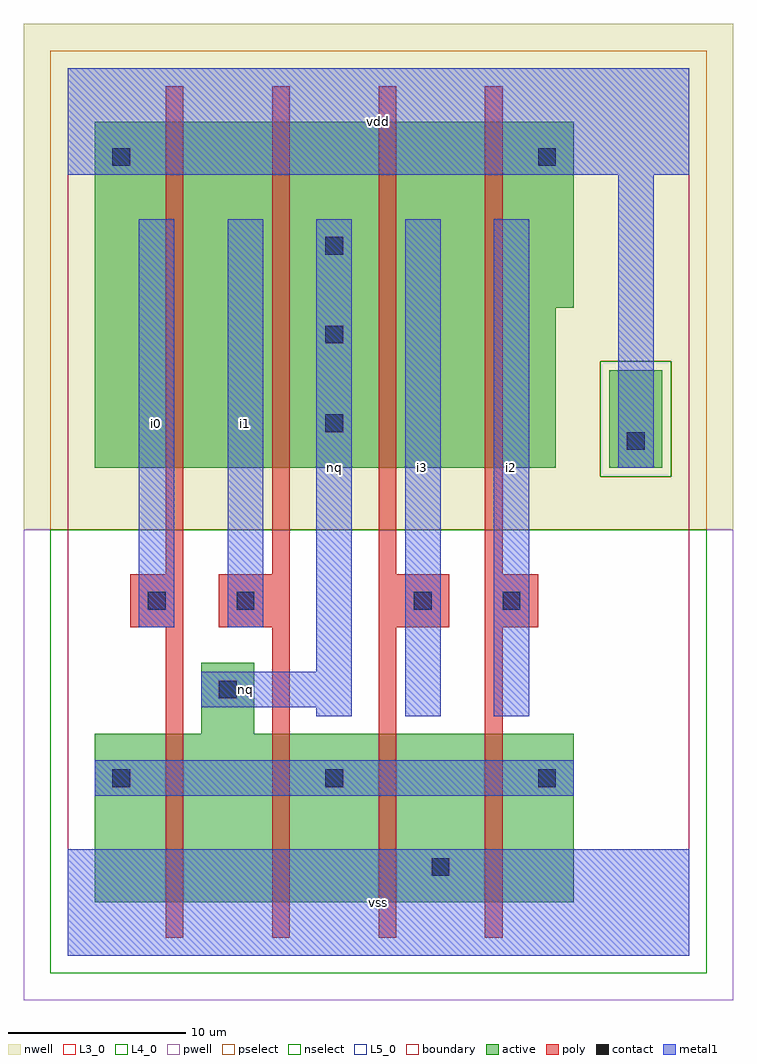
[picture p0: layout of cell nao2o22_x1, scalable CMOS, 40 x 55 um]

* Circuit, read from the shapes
.subckt nao2o22_x1 i0 i1 i2 i3 nq vdd vss
M1 nq i0 n1 VSUBS nfet w=9.5u l=1u
M2 n1 i1 nq VSUBS nfet w=9.5u l=1u
M3 vss i3 n1 VSUBS nfet w=9.5u l=1u
M4 n1 i2 vss VSUBS nfet w=9.5u l=1u
M5 n2 i0 vdd vdd pfet w=19.5u l=1u
M6 nq i1 n2 vdd pfet w=19.5u l=1u
M7 n3 i3 nq vdd pfet w=19.5u l=1u
M8 vdd i2 n3 vdd pfet w=19.5u l=1u
.ends

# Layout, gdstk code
import gdstk
lib = gdstk.Library(unit=1e-6, precision=1e-09)
def R(c, l, rs):  # rectangles x0, y0, x1, y1
    for r in rs: c.add(gdstk.rectangle(r[:2], r[2:], *l))
def A(c, l, x, y, w, h, nx, ny, dx, dy):  # array of equal rectangles
    R(c, l, [(x+i*dx, y+j*dy, x+i*dx+w, y+j*dy+h) for i in range(nx) for j in range(ny)])
L3_0 = (3, 0)
L4_0 = (4, 0)
L5_0 = (5, 0)
contact = (25, 0)
pwell = (41, 0)
nwell = (42, 0)
active = (43, 0)
pselect = (44, 0)
nselect = (45, 0)
poly = (46, 0)
metal1 = (49, 0)
boundary = (63, 0)

nao2o22_x1 = lib.new_cell('nao2o22_x1')
R(nao2o22_x1, L3_0, [(1.5,3,28.5,12.5), (7.5,12.5,10.5,16.5)])
R(nao2o22_x1, L4_0, [(1.5,27.5,27.5,36.5), (1.5,36.5,28.5,47)])
R(nao2o22_x1, L5_0, [(30.5,27.5,33.5,33)])
A(nao2o22_x1, contact, 2.5, 9.5, 1, 1, 3, 1, 12, 0)
A(nao2o22_x1, contact, 14.5, 29.5, 1, 1, 1, 3, 0, 5)
R(nao2o22_x1, contact, [(20.5,4.5,21.5,5.5), (8.5,14.5,9.5,15.5), (4.5,19.5,5.5,20.5), (9.5,19.5,10.5,20.5), (19.5,19.5,20.5,20.5), (24.5,19.5,25.5,20.5), (31.5,28.5,32.5,29.5), (2.5,44.5,3.5,45.5), (26.5,44.5,27.5,45.5)])
R(nao2o22_x1, pwell, [(-2.5,-2.5,37.5,24)])
R(nao2o22_x1, nwell, [(-2.5,24,37.5,52.5)])
R(nao2o22_x1, active, [(1.5,3,28.5,12.5), (7.5,12.5,10.5,16.5), (1.5,27.5,27.5,36.5), (30.5,27.5,33.5,33), (1.5,36.5,28.5,47)])
R(nao2o22_x1, pselect, [(-1,24,36,27), (-1,27,30,33.5), (34,27,36,33.5), (-1,33.5,36,51)])
R(nao2o22_x1, nselect, [(-1,-1,36,24), (30,27,34,33.5)])
A(nao2o22_x1, poly, 5.5, 1, 1, 17.5, 4, 1, 6, 0)
A(nao2o22_x1, poly, 5.5, 21.5, 1, 27.5, 4, 1, 6, 0)
R(nao2o22_x1, poly, [(3.5,18.5,6.5,21.5), (8.5,18.5,12.5,21.5), (17.5,18.5,21.5,21.5), (23.5,18.5,26.5,21.5)])
R(nao2o22_x1, metal1, [(0,0,35,6), (0,0,35,6), (1.5,9,28.5,11), (1.5,9,28.5,11), (14,13.5,16,14), (14,13.5,16,14), (19,13.5,21,41.5), (19,13.5,21,41.5), (24,13.5,26,41.5), (24,13.5,26,41.5), (7.5,14,16,16), (7.5,14,16,16), (14,16,16,41.5), (14,16,16,41.5), (4,18.5,6,41.5), (4,18.5,6,41.5), (9,18.5,11,41.5), (9,18.5,11,41.5), (31,27.5,33,44), (31,27.5,33,44), (0,44,35,50), (0,44,35,50)])
R(nao2o22_x1, boundary, [(0,0,35,50)])
nao2o22_x1.add(gdstk.Label('i0', (5,30), layer=49, texttype=0))
nao2o22_x1.add(gdstk.Label('nq', (10,15), layer=49, texttype=0))
nao2o22_x1.add(gdstk.Label('i1', (10,30), layer=49, texttype=0))
nao2o22_x1.add(gdstk.Label('nq', (15,27.5), layer=49, texttype=0))
nao2o22_x1.add(gdstk.Label('vss', (17.5,3), layer=49, texttype=0))
nao2o22_x1.add(gdstk.Label('i3', (20,27.5), layer=49, texttype=0))
nao2o22_x1.add(gdstk.Label('i2', (25,27.5), layer=49, texttype=0))
nao2o22_x1.add(gdstk.Label('vdd', (17.5,47), layer=49, texttype=0))

lib.write_gds('nao2o22_x1.gds')
